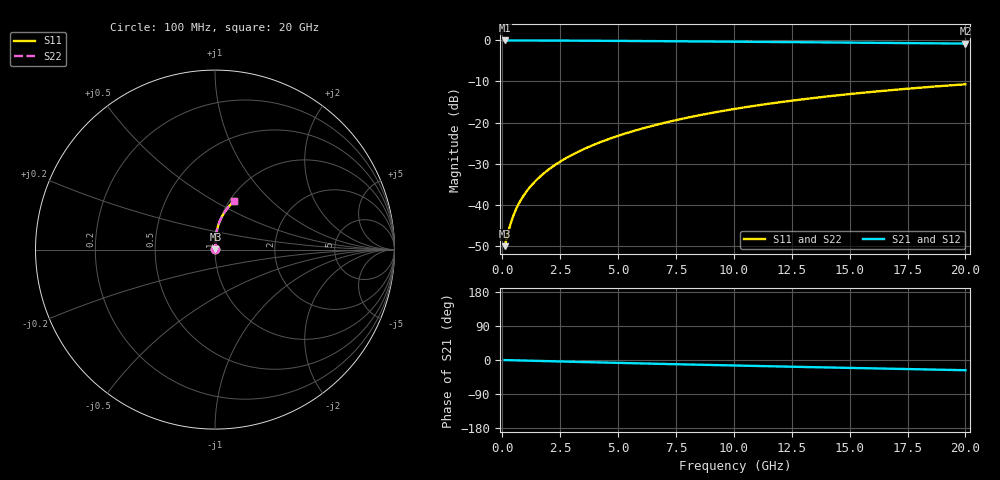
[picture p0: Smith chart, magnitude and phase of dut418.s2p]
! Touchstone file exported from HFSS 2024.1.0
!  File:  C:/UserFiles/LocalFiles/RDL_TSV_Batchsim/temp_RDL_top_418_1779675852.aedt
!  Generated:  10:26:44 AM May 25, 2026
!  Design:  RDL_top
!  Project:  temp_RDL_top_418_1779675852
!  Setup:  Setup1
!  Solution:  Sweep
! Variables:
!  dtsv = 10.80580581um
!  hbump = 3um
!  htsv = 56.98um
!  ldown = 100um
!  lrdl = 331.64um
!  p = 40
!  p1 = 53.73um
!  rhole = 1um
!  t = 450um
!  tdown = 3.915915916um
!  trdl = 2.15um
!  wdown = 15.38538539um
!  wrdl = 22.71um
# GHz S MA R 50.000000
! Terminal data exported
! Port[1] = Box2_T1
! Port[2] = Box2_T2
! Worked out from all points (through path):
!   200 points, 100 MHz to 20 GHz, reference 50 ohm
!   highest |S21| = -0.02 dB at 100 MHz (marker M1); lowest = -0.8 dB at 20 GHz (marker M2)
!   group delay of S21, straight-line fit = 3.71 ps
!   lowest |S11| = -50.1 dB at 100 MHz (marker M3), VSWR 1.01, Z = 50.3 + j0.144 ohm
!   |S11| at or under -10 dB: start of sweep to end of sweep
!   |S22| runs from -50.1 to -10.7 dB; largest |S21 - S12| = 3.1e-15
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0.1  0.003123 27.3  0.9972 -0.2  0.9972 -0.2  0.003123 27.3
! Gamma 0 0 0 0
! Port Impedance 50 0 50 0
0.3  0.005143 55.7  0.997 -0.5  0.997 -0.5  0.005143 55.7
0.4  0.00636 62.0  0.9969 -0.7  0.9969 -0.7  0.00636 62.0
0.5  0.007606 66.2  0.9968 -0.8  0.9968 -0.8  0.007606 66.2
0.6  0.008861 69.2  0.9966 -1.0  0.9966 -1.0  0.008861 69.2
0.7  0.01012 71.4  0.9965 -1.1  0.9965 -1.1  0.01012 71.4
0.9  0.01263 74.7  0.9962 -1.4  0.9962 -1.4  0.01263 74.7
1.2  0.01643 78.0  0.9958 -1.9  0.9958 -1.9  0.01643 78.0
1.4  0.01898 79.5  0.9954 -2.2  0.9954 -2.2  0.01898 79.5
1.7  0.02285 81.2  0.9949 -2.7  0.9949 -2.7  0.02285 81.2
2.2  0.02942 83.2  0.9939 -3.4  0.9939 -3.4  0.02942 83.2
2.8  0.03749 84.6  0.9924 -4.4  0.9924 -4.4  0.03749 84.6
3.5  0.04718 85.5  0.9904 -5.4  0.9904 -5.4  0.04717 85.5
4.2  0.05713 86.0  0.988 -6.5  0.988 -6.5  0.05713 86.0
5  0.06882 86.0  0.9851 -7.6  0.9851 -7.6  0.06882 86.0
5.9  0.08229 85.7  0.9815 -8.9  0.9815 -8.9  0.08229 85.7
6.8  0.09603 85.1  0.9777 -10.2  0.9777 -10.2  0.09603 85.1
8.4  0.1209 83.6  0.9706 -12.4  0.9706 -12.4  0.1209 83.6
10.1  0.1474 81.6  0.9628 -14.6  0.9628 -14.6  0.1474 81.6
13.4  0.1981 77.2  0.9472 -18.9  0.9472 -18.9  0.1981 77.2
16.7  0.2466 72.7  0.9307 -23.0  0.9307 -23.0  0.2466 72.7
20  0.2921 68.3  0.9136 -27.0  0.9136 -27.0  0.2921 68.3
